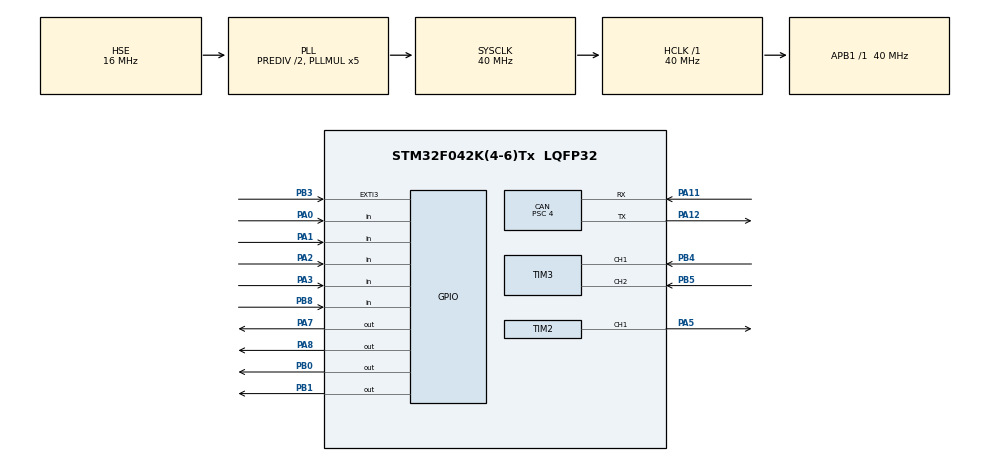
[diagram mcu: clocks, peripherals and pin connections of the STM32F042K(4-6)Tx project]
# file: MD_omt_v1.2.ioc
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CAN.BS1=CAN_BS1_6TQ
CAN.BS2=CAN_BS2_3TQ
CAN.CalculateBaudRate=1000000
CAN.CalculateTimeBit=1000
CAN.CalculateTimeQuantum=100.0
CAN.Prescaler=4
Mcu.Family=STM32F0
Mcu.Name=STM32F042K(4-6)Tx
Mcu.Package=LQFP32
NVIC.CEC_CAN_IRQn=true\:0\:0\:false\:false\:true\:true\:true\:true
NVIC.EXTI2_3_IRQn=true\:0\:0\:false\:false\:true\:true\:true\:true
NVIC.TIM14_IRQn=true\:0\:0\:false\:false\:true\:true\:true\:true
NVIC.TIM16_IRQn=true\:0\:0\:false\:false\:true\:true\:true\:true
PA0.Signal=GPIO_Input
PA1.Signal=GPIO_Input
PA11.Mode=CAN_Activate
PA11.Signal=CAN_RX
PA12.Mode=CAN_Activate
PA12.Signal=CAN_TX
PA13.Mode=Serial_Wire
PA13.Signal=SYS_SWDIO
PA14.Mode=Serial_Wire
PA14.Signal=SYS_SWCLK
PA2.Signal=GPIO_Input
PA3.Signal=GPIO_Input
PA5.Signal=S_TIM2_CH1_ETR
PA7.Signal=GPIO_Output
PA8.Signal=GPIO_Output
PB0.Signal=GPIO_Output
PB1.Signal=GPIO_Output
PB3.Signal=GPXTI3
PB4.Signal=S_TIM3_CH1
PB5.Signal=S_TIM3_CH2
PB8.Signal=GPIO_Input
PF0-OSC_IN.Mode=HSE-External-Oscillator
PF0-OSC_IN.Signal=RCC_OSC_IN
PF1-OSC_OUT.Mode=HSE-External-Oscillator
PF1-OSC_OUT.Signal=RCC_OSC_OUT
ProjectManager.HeapSize=0x200
ProjectManager.StackSize=0x400
ProjectManager.TargetToolchain=STM32CubeIDE
RCC.AHBFreq_Value=40000000
RCC.APB1Freq_Value=40000000
RCC.APB1TimFreq_Value=40000000
RCC.HCLKFreq_Value=40000000
RCC.HSE_VALUE=16000000
RCC.PLLDivider=RCC_PREDIV_DIV2
RCC.PLLMUL=RCC_PLL_MUL5
RCC.PLLSourceVirtual=RCC_PLLSOURCE_HSE
RCC.SYSCLKFreq_VALUE=40000000
RCC.SYSCLKSource=RCC_SYSCLKSOURCE_PLLCLK
SH.S_TIM2_CH1_ETR.0=TIM2_CH1,PWM Generation1 CH1
SH.S_TIM3_CH1.0=TIM3_CH1,Encoder_Interface
SH.S_TIM3_CH2.0=TIM3_CH2,Encoder_Interface
TIM14.Period=9999
TIM14.Prescaler=799
TIM16.Period=999
TIM16.Prescaler=39
TIM2.Channel-PWM\ Generation1\ CH1=TIM_CHANNEL_1
TIM2.Period=999
TIM2.Prescaler=1
TIM3.EncoderMode=TIM_ENCODERMODE_TI12
VP_TIM14_VS_ClockSourceINT.Mode=Enable_Timer
VP_TIM16_VS_ClockSourceINT.Mode=Enable_Timer
board=custom

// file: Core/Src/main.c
/* USER CODE BEGIN Header */
/**
  ******************************************************************************
  * @file           : main.c
  * @brief          : Main program body
  ******************************************************************************
  * @attention
  *
  * Copyright (c) 2025 STMicroelectronics.
  * All rights reserved.
  *
  * This software is licensed under terms that can be found in the LICENSE file
  * in the root directory of this software component.
  * If no LICENSE file comes with this software, it is provided AS-IS.
  *
  ******************************************************************************
  */
/* USER CODE END Header */
#include "main.h"

/* USER CODE BEGIN Includes */

#include "stdio.h"
#include "string.h"
#include "stdint.h"

/* USER CODE END Includes */

/* USER CODE BEGIN PD */

#define FlashAddress 0x08007C00		//Page 31(Flash memory) initial address

#define ID1 0x1FE
#define ID2 0x1FD
#define ID3 0x1FC
#define ID4 0x1FB
/* USER CODE END PD */

CAN_HandleTypeDef hcan;

TIM_HandleTypeDef htim2;
TIM_HandleTypeDef htim3;
TIM_HandleTypeDef htim14;
TIM_HandleTypeDef htim16;

void SystemClock_Config(void);
static void MX_GPIO_Init(void);
static void MX_CAN_Init(void);
static void MX_TIM2_Init(void);
static void MX_TIM3_Init(void);
static void MX_TIM14_Init(void);
static void MX_TIM16_Init(void);
/* USER CODE BEGIN PFP */
uint8_t icount = 0;
uint8_t period = 0;
uint8_t CAN_deviceID = 1;
uint8_t idx;
uint8_t CAN_Rxdata[8] = {0};
uint8_t CAN_Txdata[8];
uint16_t CPR;
uint8_t flag = 0;

/*
char str[64] = {0};
uint8_t DbgFlag = 0;
*/

void Drive_MTR(uint8_t stat, uint16_t duty) {
	if(duty > 999) duty = 999;

	switch (stat) {
	case 2:		//reverse
			HAL_GPIO_WritePin(GPIOA, GPIO_PIN_7, RESET);
			HAL_GPIO_WritePin(GPIOB, GPIO_PIN_0, SET);
			__HAL_TIM_SET_COMPARE(&htim2, TIM_CHANNEL_1, duty);
			break;
	case 3:		//forward
		HAL_GPIO_WritePin(GPIOA, GPIO_PIN_7, RESET);
		HAL_GPIO_WritePin(GPIOB, GPIO_PIN_0, RESET);
		__HAL_TIM_SET_COMPARE(&htim2, TIM_CHANNEL_1, duty);
		break;
	default:	//free
		HAL_GPIO_WritePin(GPIOA, GPIO_PIN_7, SET);
		HAL_GPIO_WritePin(GPIOB, GPIO_PIN_0, RESET);
		__HAL_TIM_SET_COMPARE(&htim2, TIM_CHANNEL_1, 0);
		break;
	}
}

void CAN_transmit(uint32_t TxID, uint8_t TXdata[]) {
	CAN_TxHeaderTypeDef TXHeader;
	uint32_t TxMailbox;
	if (0 < HAL_CAN_GetTxMailboxesFreeLevel(&hcan)) {
		TXHeader.StdId = TxID;
		TXHeader.RTR = CAN_RTR_DATA;
		TXHeader.IDE = CAN_ID_STD;
		TXHeader.DLC = 8;
		TXHeader.TransmitGlobalTime = DISABLE;

		HAL_CAN_AddTxMessage(&hcan, &TXHeader, TXdata, &TxMailbox);
	}
}

void HAL_TIM_PeriodElapsedCallback(TIM_HandleTypeDef *htim) {
	if (htim == &htim14) {	//TIM14 isr, 5Hz (0.2s)
		//ID indicate by blink LED
		static uint8_t num = 0;
		if (period <= CAN_deviceID * 2 - 1) {
			if (period % 2 == 0) {
				HAL_GPIO_WritePin(GPIOB, GPIO_PIN_1, SET);
			} else {
				HAL_GPIO_WritePin(GPIOB, GPIO_PIN_1, RESET);
			}
		}
		if(period == CAN_deviceID*2){
			HAL_GPIO_WritePin(GPIOB, GPIO_PIN_1, RESET);
		}
		icount++;
		period++;
		if(flag){
			if(num % 2 == 0){
				HAL_GPIO_WritePin(GPIOA, GPIO_PIN_8, SET);
			}else{
				HAL_GPIO_WritePin(GPIOA, GPIO_PIN_8, RESET);
			}
			if(num < 5){
				num++;
			}else{
				flag = 0;
				num = 0;
			}
		}
		if (period >= CAN_deviceID * 2 + 7)
			period = 0;
	}

	if (htim == &htim16) {	//TIM16 isr, 1kHz (1ms)
		//Transmit encoder data
		static int16_t pre_enc = 0;
		int16_t enc_cnt = (int16_t)TIM3->CNT;
		int16_t enc_deff, rpm;

		//calculate rpm
		/*if(pre_enc >= 0){
			enc_diff = (enc_cnt < 0) ? ((INT16_MAX - pre_enc) + (enc_cnt - INT16_MIN)) : (enc_cnt - pre_enc);
		}else{
			enc_diff = (enc_cnt >= 0) ? ((INT16_MAX - pre_enc) + (enc_cnt - INT16_MIN)) : (enc_cnt - pre_enc);
		}*/
		enc_deff = enc_cnt - pre_enc;

		rpm = enc_deff * (60000 / CPR);
		pre_enc = enc_cnt;

		CAN_Txdata[0] = enc_cnt >> 8;
		CAN_Txdata[1] = enc_cnt & 0xFF;

		CAN_Txdata[2] = (uint8_t)(rpm >> 8);
		CAN_Txdata[3] = (uint8_t)(rpm & 0xFF);

		CAN_Txdata[4] = 0;
		CAN_Txdata[5] = 0;

		CAN_Txdata[6] = (uint8_t)(CPR >> 8);
		CAN_Txdata[7] = (uint8_t)(CPR & 0xFF);
		CAN_transmit(0x20B + CAN_deviceID, CAN_Txdata);
		}
}

void HAL_CAN_RxFifo0MsgPendingCallback(CAN_HandleTypeDef *hcan) {
	CAN_RxHeaderTypeDef RxHeader;
	uint8_t data[8];
	if (HAL_CAN_GetRxMessage(hcan, CAN_RX_FIFO0, &RxHeader, data) == HAL_OK) {
		uint16_t MessageID = RxHeader.StdId;
		if (CAN_deviceID <= 4 && MessageID == 0x1FE) {
			for (int i = 0; i < 8; i++) {
				CAN_Rxdata[i] = data[i];
			}
		}
		else if (CAN_deviceID >= 5 && CAN_deviceID <= 8 && MessageID == 0x1FD) {
			for (int i = 0; i < 8; i++) {
				CAN_Rxdata[i] = data[i];
			}
		}
		else if(CAN_deviceID >= 9 && CAN_deviceID <= 12 && MessageID == 0x1FC){
			for (int i = 0; i < 8; i++) {
				CAN_Rxdata[i] = data[i];
			}
		}
		else if(CAN_deviceID >= 13 && CAN_deviceID <= 16 && MessageID == 0x1FB){
			for (int i = 0; i < 8; i++) {
				CAN_Rxdata[i] = data[i];
			}
		}
		if((CAN_Rxdata[idx - 1] >> 4) == 0x0A){
			TIM3->CNT = 0;
			flag = 1;
		}
	}
}

void eraseFlash(uint32_t address) {
	FLASH_EraseInitTypeDef erase;
	erase.TypeErase = FLASH_TYPEERASE_PAGES;
	erase.PageAddress = address;
	erase.NbPages = 1;

	uint32_t page_error = 0;
	HAL_FLASHEx_Erase(&erase, &page_error);
}

void writeFlash(uint32_t address, uint8_t *DATA) {
	HAL_FLASH_Unlock();
	eraseFlash(address);
	HAL_FLASH_Program(FLASH_TYPEPROGRAM_HALFWORD, address, *DATA);
	HAL_FLASH_Lock();
}

/* USER CODE END PFP */

int main(void)
{

  /* MCU Configuration--------------------------------------------------------*/

  /* Reset of all peripherals, Initializes the Flash interface and the Systick. */
  HAL_Init();

  /* Configure the system clock */
  SystemClock_Config();

  /* Initialize all configured peripherals */
  MX_GPIO_Init();
  MX_CAN_Init();
  MX_TIM2_Init();
  MX_TIM3_Init();
  MX_TIM14_Init();
  MX_TIM16_Init();
  /* USER CODE BEGIN 2 */

//	setbuf(stdout, NULL);		//printf関数用

  /* USER CODE END 2 */

  /* Infinite loop */
  /* USER CODE BEGIN WHILE */
	HAL_TIM_PWM_Start(&htim2, TIM_CHANNEL_1);
	HAL_TIM_Encoder_Start(&htim3, TIM_CHANNEL_ALL);
	HAL_TIM_Base_Start_IT(&htim14);
	HAL_TIM_Base_Start_IT(&htim16);
	HAL_GPIO_WritePin(GPIOA, GPIO_PIN_7, SET);			//PWML
	HAL_GPIO_WritePin(GPIOB, GPIO_PIN_0, RESET);		//PHASE
	__HAL_TIM_SET_COMPARE(&htim2, TIM_CHANNEL_1, 0);	//PWMH

	//encoder resolution setting
	uint8_t DIP_SW = (uint8_t)(~GPIOA->IDR & 0x0f);

	switch (DIP_SW) {
		case 0:
			CPR = 8192;
			break;
		case 1:
			CPR = 4000;
			break;
		case 2:
			CPR = 3200;
			break;
		case 3:
			CPR = 1536;
			break;
		case 4:
			CPR = 4096;
			break;
		case 5:
			CPR = 2000;
			break;
		case 6:
			CPR = 1600;
			break;
		case 7:
			CPR = 768;
			break;
		case 8:
			CPR = 2048;
			break;
		case 9:
			CPR = 1000;
			break;
		case 10:
			CPR = 800;
			break;
		case 11:
			CPR = 384;
			break;
		case 12:
			CPR = 1024;
			break;
		case 13:
			CPR = 500;
			break;
		case 14:
			CPR = 400;
			break;
		case 15:
			CPR = 192;
			break;
	}

	uint16_t PWM = 0;
	uint8_t MTR_stat = 3;

	CAN_deviceID = *(uint8_t*) FlashAddress;

	if(CAN_deviceID <= 4) idx = CAN_deviceID * 2 - 1;
	else if(CAN_deviceID >= 5 && CAN_deviceID <= 8) 	idx = CAN_deviceID*2 - 9;
	else if(CAN_deviceID >= 9 && CAN_deviceID <= 12) 	idx = CAN_deviceID*2 - 17;
	else if(CAN_deviceID >= 13 && CAN_deviceID <= 16) 	idx = CAN_deviceID*2 - 25;

	while (1) {
    /* USER CODE END WHILE */

    /* USER CODE BEGIN 3 */

		//ID_setting
		if (HAL_GPIO_ReadPin(GPIOB, GPIO_PIN_8)) {			//スイッチが押されたら
			HAL_TIM_Base_Stop_IT(&htim16);					//timer16の割り込みを停止
			Drive_MTR(0, 0);							//free
			CAN_deviceID = 0;
			icount = 0;
			HAL_GPIO_WritePin(GPIOA, GPIO_PIN_8, SET);		//LED1 ON
			while (1) {
				period = 1;			//LED0(PB1) OFF
				if (HAL_GPIO_ReadPin(GPIOB, GPIO_PIN_8)) {	//スイッチが押されたら
					CAN_deviceID++;
					HAL_Delay(10);							//wait 10msチャタリング回避
					while (1) {
						if (!HAL_GPIO_ReadPin(GPIOB, GPIO_PIN_8)) {		//スイッチから手が離されたら
							if(CAN_deviceID > 16) CAN_deviceID = 1;
								icount = 0;
								HAL_Delay(10);					//wait 10msチャタリング回避
								break;
						}
					}
				}
				if (icount >= 8) {			//icount >= 8になったらループを終了
					if(CAN_deviceID <= 4) idx = CAN_deviceID * 2 - 1;
					else if(CAN_deviceID >= 5 && CAN_deviceID <= 8) 	idx = CAN_deviceID*2 - 9;
					else if(CAN_deviceID >= 9 && CAN_deviceID <= 12) 	idx = CAN_deviceID*2 - 17;
					else if(CAN_deviceID >= 13 && CAN_deviceID <= 16) 	idx = CAN_deviceID*2 - 25;
					writeFlash(FlashAddress, &CAN_deviceID);
					HAL_GPIO_WritePin(GPIOA, GPIO_PIN_8, RESET);	//LED1 OFF
					icount = 0;
					period = 0;
					HAL_TIM_Base_Start_IT(&htim16);			//timer16の割り込み処
					break;
				}
			}
		}

		PWM = ((CAN_Rxdata[idx - 1] & 0x03) << 8) + CAN_Rxdata[idx];
		MTR_stat = (CAN_Rxdata[idx - 1] & 0x0C) >> 2;

		Drive_MTR(MTR_stat, PWM);
	}
    /* USER CODE END WHILE */
  /* USER CODE END 3 */
}

void SystemClock_Config(void)
{
  RCC_OscInitTypeDef RCC_OscInitStruct = {0};
  RCC_ClkInitTypeDef RCC_ClkInitStruct = {0};

  /** Initializes the RCC Oscillators according to the specified parameters
  * in the RCC_OscInitTypeDef structure.
  */
  RCC_OscInitStruct.OscillatorType = RCC_OSCILLATORTYPE_HSE;
  RCC_OscInitStruct.HSEState = RCC_HSE_ON;
  RCC_OscInitStruct.PLL.PLLState = RCC_PLL_ON;
  RCC_OscInitStruct.PLL.PLLSource = RCC_PLLSOURCE_HSE;
  RCC_OscInitStruct.PLL.PLLMUL = RCC_PLL_MUL5;
  RCC_OscInitStruct.PLL.PREDIV = RCC_PREDIV_DIV2;
  if (HAL_RCC_OscConfig(&RCC_OscInitStruct) != HAL_OK)
  {
    Error_Handler();
  }

  /** Initializes the CPU, AHB and APB buses clocks
  */
  RCC_ClkInitStruct.ClockType = RCC_CLOCKTYPE_HCLK|RCC_CLOCKTYPE_SYSCLK
                              |RCC_CLOCKTYPE_PCLK1;
  RCC_ClkInitStruct.SYSCLKSource = RCC_SYSCLKSOURCE_PLLCLK;
  RCC_ClkInitStruct.AHBCLKDivider = RCC_SYSCLK_DIV1;
  RCC_ClkInitStruct.APB1CLKDivider = RCC_HCLK_DIV1;

  if (HAL_RCC_ClockConfig(&RCC_ClkInitStruct, FLASH_LATENCY_1) != HAL_OK)
  {
    Error_Handler();
  }
}

static void MX_CAN_Init(void)
{

  hcan.Instance = CAN;
  hcan.Init.Prescaler = 4;
  hcan.Init.Mode = CAN_MODE_NORMAL;
  hcan.Init.SyncJumpWidth = CAN_SJW_1TQ;
  hcan.Init.TimeSeg1 = CAN_BS1_6TQ;
  hcan.Init.TimeSeg2 = CAN_BS2_3TQ;
  hcan.Init.TimeTriggeredMode = DISABLE;
  hcan.Init.AutoBusOff = DISABLE;
  hcan.Init.AutoWakeUp = DISABLE;
  hcan.Init.AutoRetransmission = DISABLE;
  hcan.Init.ReceiveFifoLocked = DISABLE;
  hcan.Init.TransmitFifoPriority = DISABLE;
  if (HAL_CAN_Init(&hcan) != HAL_OK)
  {
    Error_Handler();
  }
  /* USER CODE BEGIN CAN_Init 2 */

	HAL_CAN_Start(&hcan);
	HAL_CAN_ActivateNotification(&hcan, CAN_IT_RX_FIFO0_MSG_PENDING);

	CAN_FilterTypeDef filter;
	filter.FilterMode = CAN_FILTERMODE_IDLIST;
	filter.FilterIdHigh = ID1 << 5;			//ID1
	filter.FilterIdLow = ID2 << 5;			//ID2
	filter.FilterMaskIdHigh = ID3 << 5;		//ID3
	filter.FilterMaskIdLow = ID4 << 5;		//ID4
	filter.FilterScale = CAN_FILTERSCALE_16BIT;
	filter.FilterFIFOAssignment = CAN_FILTER_FIFO0;
	filter.FilterBank = 0;
	filter.SlaveStartFilterBank = 14;
	filter.FilterActivation = ENABLE;
	HAL_CAN_ConfigFilter(&hcan, &filter);

  /* USER CODE END CAN_Init 2 */

}

static void MX_TIM2_Init(void)
{

  TIM_MasterConfigTypeDef sMasterConfig = {0};
  TIM_OC_InitTypeDef sConfigOC = {0};

  htim2.Instance = TIM2;
  htim2.Init.Prescaler = 1;
  htim2.Init.CounterMode = TIM_COUNTERMODE_UP;
  htim2.Init.Period = 999;
  htim2.Init.ClockDivision = TIM_CLOCKDIVISION_DIV1;
  htim2.Init.AutoReloadPreload = TIM_AUTORELOAD_PRELOAD_DISABLE;
  if (HAL_TIM_PWM_Init(&htim2) != HAL_OK)
  {
    Error_Handler();
  }
  sMasterConfig.MasterOutputTrigger = TIM_TRGO_RESET;
  sMasterConfig.MasterSlaveMode = TIM_MASTERSLAVEMODE_DISABLE;
  if (HAL_TIMEx_MasterConfigSynchronization(&htim2, &sMasterConfig) != HAL_OK)
  {
    Error_Handler();
  }
  sConfigOC.OCMode = TIM_OCMODE_PWM1;
  sConfigOC.Pulse = 0;
  sConfigOC.OCPolarity = TIM_OCPOLARITY_HIGH;
  sConfigOC.OCFastMode = TIM_OCFAST_DISABLE;
  if (HAL_TIM_PWM_ConfigChannel(&htim2, &sConfigOC, TIM_CHANNEL_1) != HAL_OK)
  {
    Error_Handler();
  }
  HAL_TIM_MspPostInit(&htim2);

}

static void MX_TIM3_Init(void)
{

  TIM_Encoder_InitTypeDef sConfig = {0};
  TIM_MasterConfigTypeDef sMasterConfig = {0};

  htim3.Instance = TIM3;
  htim3.Init.Prescaler = 0;
  htim3.Init.CounterMode = TIM_COUNTERMODE_UP;
  htim3.Init.Period = 65535;
  htim3.Init.ClockDivision = TIM_CLOCKDIVISION_DIV1;
  htim3.Init.AutoReloadPreload = TIM_AUTORELOAD_PRELOAD_DISABLE;
  sConfig.EncoderMode = TIM_ENCODERMODE_TI12;
  sConfig.IC1Polarity = TIM_ICPOLARITY_RISING;
  sConfig.IC1Selection = TIM_ICSELECTION_DIRECTTI;
  sConfig.IC1Prescaler = TIM_ICPSC_DIV1;
  sConfig.IC1Filter = 0;
  sConfig.IC2Polarity = TIM_ICPOLARITY_RISING;
  sConfig.IC2Selection = TIM_ICSELECTION_DIRECTTI;
  sConfig.IC2Prescaler = TIM_ICPSC_DIV1;
  sConfig.IC2Filter = 0;
  if (HAL_TIM_Encoder_Init(&htim3, &sConfig) != HAL_OK)
  {
    Error_Handler();
  }
  sMasterConfig.MasterOutputTrigger = TIM_TRGO_RESET;
  sMasterConfig.MasterSlaveMode = TIM_MASTERSLAVEMODE_DISABLE;
  if (HAL_TIMEx_MasterConfigSynchronization(&htim3, &sMasterConfig) != HAL_OK)
  {
    Error_Handler();
  }

}

static void MX_TIM14_Init(void)
{

  htim14.Instance = TIM14;
  htim14.Init.Prescaler = 799;
  htim14.Init.CounterMode = TIM_COUNTERMODE_UP;
  htim14.Init.Period = 9999;
  htim14.Init.ClockDivision = TIM_CLOCKDIVISION_DIV1;
  htim14.Init.AutoReloadPreload = TIM_AUTORELOAD_PRELOAD_DISABLE;
  if (HAL_TIM_Base_Init(&htim14) != HAL_OK)
  {
    Error_Handler();
  }

}

static void MX_TIM16_Init(void)
{

  htim16.Instance = TIM16;
  htim16.Init.Prescaler = 39;
  htim16.Init.CounterMode = TIM_COUNTERMODE_UP;
  htim16.Init.Period = 999;
  htim16.Init.ClockDivision = TIM_CLOCKDIVISION_DIV1;
  htim16.Init.RepetitionCounter = 0;
  htim16.Init.AutoReloadPreload = TIM_AUTORELOAD_PRELOAD_DISABLE;
  if (HAL_TIM_Base_Init(&htim16) != HAL_OK)
  {
    Error_Handler();
  }

}

static void MX_GPIO_Init(void)
{
  GPIO_InitTypeDef GPIO_InitStruct = {0};

  /* GPIO Ports Clock Enable */
  __HAL_RCC_GPIOF_CLK_ENABLE();
  __HAL_RCC_GPIOA_CLK_ENABLE();
  __HAL_RCC_GPIOB_CLK_ENABLE();

  /*Configure GPIO pin Output Level */
  HAL_GPIO_WritePin(GPIOA, GPIO_PIN_7|GPIO_PIN_8, GPIO_PIN_RESET);

  /*Configure GPIO pin Output Level */
  HAL_GPIO_WritePin(GPIOB, GPIO_PIN_0|GPIO_PIN_1, GPIO_PIN_RESET);

  /*Configure GPIO pins : PA0 PA1 PA2 PA3 */
  GPIO_InitStruct.Pin = GPIO_PIN_0|GPIO_PIN_1|GPIO_PIN_2|GPIO_PIN_3;
  GPIO_InitStruct.Mode = GPIO_MODE_INPUT;
  GPIO_InitStruct.Pull = GPIO_NOPULL;
  HAL_GPIO_Init(GPIOA, &GPIO_InitStruct);

  /*Configure GPIO pins : PA7 PA8 */
  GPIO_InitStruct.Pin = GPIO_PIN_7|GPIO_PIN_8;
  GPIO_InitStruct.Mode = GPIO_MODE_OUTPUT_PP;
  GPIO_InitStruct.Pull = GPIO_NOPULL;
  GPIO_InitStruct.Speed = GPIO_SPEED_FREQ_LOW;
  HAL_GPIO_Init(GPIOA, &GPIO_InitStruct);

  /*Configure GPIO pins : PB0 PB1 */
  GPIO_InitStruct.Pin = GPIO_PIN_0|GPIO_PIN_1;
  GPIO_InitStruct.Mode = GPIO_MODE_OUTPUT_PP;
  GPIO_InitStruct.Pull = GPIO_NOPULL;
  GPIO_InitStruct.Speed = GPIO_SPEED_FREQ_LOW;
  HAL_GPIO_Init(GPIOB, &GPIO_InitStruct);

  /*Configure GPIO pin : PB3 */
  GPIO_InitStruct.Pin = GPIO_PIN_3;
  GPIO_InitStruct.Mode = GPIO_MODE_IT_RISING;
  GPIO_InitStruct.Pull = GPIO_NOPULL;
  HAL_GPIO_Init(GPIOB, &GPIO_InitStruct);

  /*Configure GPIO pin : PB8 */
  GPIO_InitStruct.Pin = GPIO_PIN_8;
  GPIO_InitStruct.Mode = GPIO_MODE_INPUT;
  GPIO_InitStruct.Pull = GPIO_NOPULL;
  HAL_GPIO_Init(GPIOB, &GPIO_InitStruct);

  /* EXTI interrupt init*/
  HAL_NVIC_SetPriority(EXTI2_3_IRQn, 0, 0);
  HAL_NVIC_EnableIRQ(EXTI2_3_IRQn);

}

void Error_Handler(void)
{
  __disable_irq();
  while (1)
  {
  }
}
